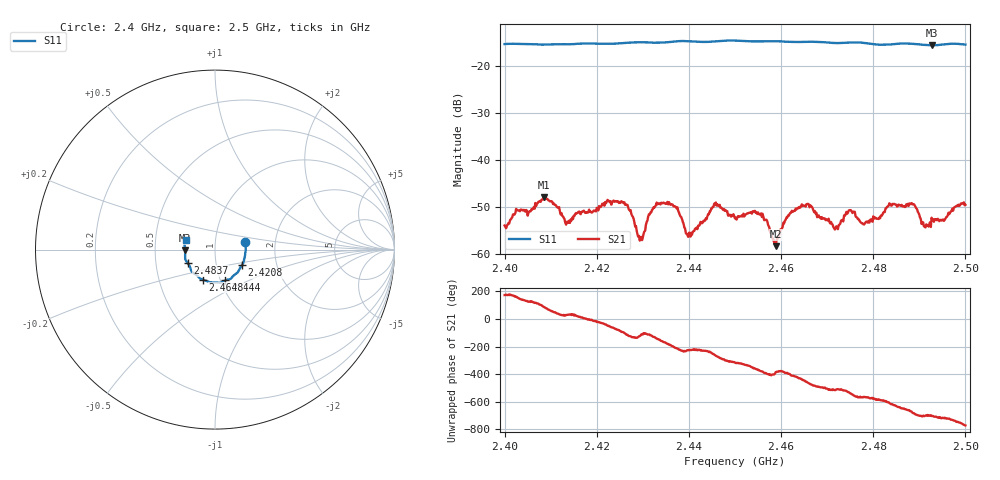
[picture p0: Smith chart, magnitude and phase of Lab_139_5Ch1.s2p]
# Hz S RI R 50
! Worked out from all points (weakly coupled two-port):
!   601 points, 2.4 GHz to 2.5 GHz, reference 50 ohm
!   highest |S21| = -47.93 dB at 2.4085 GHz (marker M1); lowest = -58.4 dB at 2.4588 GHz (marker M2)
!   lowest |S11| = -15.6 dB at 2.4928 GHz (marker M3), VSWR 1.40, Z = 35.7 - j0.293 ohm
!   |S11| at or under -10 dB: start of sweep to end of sweep
!   S12 and S22 are empty: the file has one direction only
!   S11 on the Smith chart (normalised r, x): 2.4 GHz: 1.39, +0.12; 2.4208 GHz: 1.33, -0.24; 2.444 GHz: 1.05, -0.37; 2.4648 GHz: 0.83, -0.29; 2.4837 GHz: 0.73, -0.11; 2.5 GHz: 0.72, +0.08
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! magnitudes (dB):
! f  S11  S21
! 2.4 GHz  -15.3  -54.0
! 2.4085 GHz  -15.4  -47.9
! 2.4137 GHz  -15.3  -53.1
! 2.4167 GHz  -15.2  -51.1
! 2.4208 GHz  -15.2  -50.0
! 2.4262 GHz  -15.1  -49.6
! 2.4295 GHz  -14.9  -56.5
! 2.4333 GHz  -15.0  -49.4
! 2.437 GHz  -14.8  -49.9
! 2.4398 GHz  -14.7  -56.4
! 2.444 GHz  -14.9  -52.0
! 2.446 GHz  -14.7  -49.7
! 2.45 GHz  -14.6  -52.5
! 2.4555 GHz  -14.7  -51.6
! 2.4588 GHz  -14.7  -58.4
! 2.4648 GHz  -14.9  -49.7
! 2.4667 GHz  -14.8  -50.0
! 2.4718 GHz  -15.1  -54.6
! 2.4833 GHz  -15.4  -49.7
! 2.4837 GHz  -15.4  -49.5
! 2.4928 GHz  -15.6  -52.8
! 2.5 GHz  -15.4  -49.6
